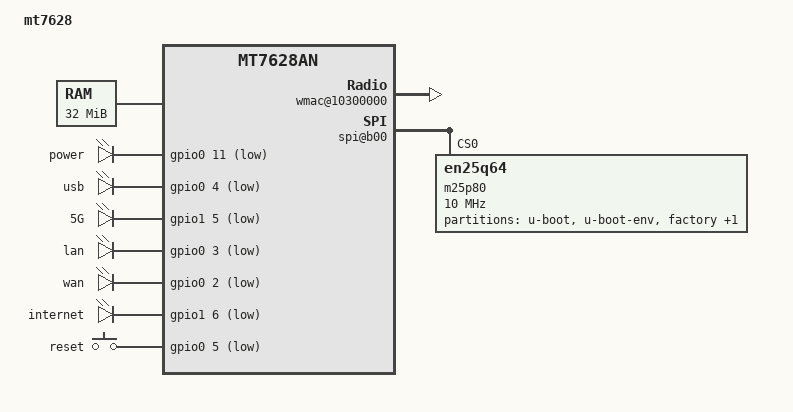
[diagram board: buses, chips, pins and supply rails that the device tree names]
/dts-v1/;

/include/ "mt7628an.dtsi"

/ {
	compatible = "mediatek,mt7628an-eval-board", "mediatek,mt7628an-soc";
	model = "mt7628";

	memory@0 {
		device_type = "memory";
		reg = <0x0 0x2000000>;
	};

	pinctrl {
		state_default: pinctrl0 {
			gpio {
				ralink,group = "i2c","i2s","gpio","refclk","wdt";
				ralink,function = "gpio";
			};
		};
	};

	gpio-leds {
		compatible = "gpio-leds";
		
		power {
			label = "power";
			gpios = <&gpio0 11 1>;
		};
	
		usb {
			label = "usb";
			gpios = <&gpio0 4 1>;
		};

		5g {
			label = "5G";
			gpios = <&gpio1 5 1>;
		};

		lan {
			label = "lan";
			gpios = <&gpio0 3 1>;
		};
		wan {
			label = "wan";
			gpios = <&gpio0 2 1>;
		};
		interent {
			label = "internet";
			gpios = <&gpio1 6 1>;

		};
	};
	
	
	gpio-keys-polled {
                 compatible = "gpio-keys-polled";
                 #address-cells = <1>;
                 #size-cells = <0>;
                 poll-interval = <20>;
 
                 reset {
                         label = "reset";
                         gpios = <&gpio0 5 1>;
                         linux,code = <0x198>;
                 };
	};

	wmac@10300000 {
		status = "okay";
	};

	palmbus@10000000 {
		spi@b00 {
			status = "okay";

			m25p80@0 {
				#address-cells = <1>;
				#size-cells = <1>;
				compatible = "en25q64";
				reg = <0 0>;
				linux,modalias = "m25p80","en25q64";
				spi-max-frequency = <10000000>;
				m25p,chunked-io = <32>;

				partition@0 {
					label = "u-boot";
					reg = <0x0 0x30000>;
					read-only;
				};

				partition@30000 {
					label = "u-boot-env";
					reg = <0x30000 0x10000>;
					read-only;
				};

				factory: partition@40000 {
					label = "factory";
					reg = <0x40000 0x10000>;
					read-only;
				};

				partition@50000 {
					label = "firmware";
					reg = <0x50000 0x7b0000>;
				};
			};
		};
	};
};
